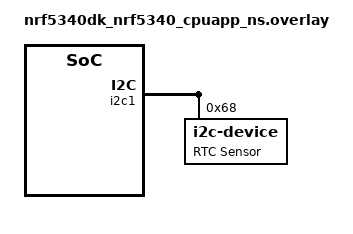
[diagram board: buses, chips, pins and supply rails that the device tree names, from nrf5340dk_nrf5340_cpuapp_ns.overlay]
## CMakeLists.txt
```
cmake_minimum_required(VERSION 3.20.0)
find_package(Zephyr REQUIRED HINTS $ENV{ZEPHYR_BASE})

project(rtc_support)

target_sources(app PRIVATE src/main.c src/convert.c src/datetime.c)
```

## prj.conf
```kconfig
CONFIG_I2C=y
CONFIG_TFM_SECURE_UART=n
CONFIG_TFM_LOG_LEVEL_SILENCE=y
```

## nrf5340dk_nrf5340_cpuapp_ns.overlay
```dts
&i2c1 {
  rtcsensor: rtcsensor@68 {
    compatible = "i2c-device";
    reg = <0x68>;
    label = "RTC Sensor";
  };
};
&uart0 {
  compatible = "nordic,nrf-uarte";
};
```

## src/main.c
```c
#include <stdio.h>
#include <zephyr/kernel.h>
#include <zephyr/drivers/gpio.h>
#include <zephyr/drivers/i2c.h>
#include "convert.h"
#include "datetime.h"

#define RTC_NODE DT_NODELABEL(rtcsensor)

static const struct i2c_dt_spec sensor = I2C_DT_SPEC_GET(RTC_NODE);

int main(void)
{
  printk("Starting the device...\n");
  if (!device_is_ready(sensor.bus))
  {
    printk("RTC Sensor %s is not ready yet.\n", sensor.bus->name);
    return 1;
  }

  printk("Device is ready.\n");

  datetime_data_s datetime_data = {
      .day = 3,
      .month = 7,
      .year = 2025,
      .dow = 4,
      .hour = 22,
      .min = 12,
      .sec = 30,
  };

  uint8_t reg_addr = 0x00; // DS3231 seconds register
  uint8_t time_data[7];
  char buf[200];

  // Encode and upload initial datetime to DS3231
  encode_datetime_data(&datetime_data, time_data);
  uint8_t write_buf[8];
  write_buf[0] = reg_addr;
  for (int i = 0; i < 7; ++i) write_buf[i+1] = time_data[i];

  int ret = i2c_write_dt(&sensor, write_buf, 8);
  if (ret != 0) {
    printk("Failed to set time on DS3231 (err %d)\n", ret);
  } else {
    printk("Time set on DS3231\n");
  }

  while (1)
  {
    ret = i2c_write_read_dt(&sensor, &reg_addr, 1, &time_data, 7);
    if (ret != 0)
    {
      printk("Failed to read seconds from DS3231 at address 0x%x\n", sensor.addr);
    }
    else
    {
      datetime_data = decode_datetime_data(time_data);
      get_datetime_str(&datetime_data, buf, 200);
      printk("%s\n", buf);
    }
    k_msleep(1000);
  }

  return 0;
}
```

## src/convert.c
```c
#include "convert.h"

uint8_t dec_to_bcd(uint8_t val)
{
  return ((val / 10) << 4) | (val % 10);
}

uint8_t bcd_to_dec_bits(uint8_t val, uint8_t bits)
{
  return (((val >> 4) & ((1 << (bits - 4)) - 1)) * 10) + (val & 0x0F);
}
```

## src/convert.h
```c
#ifndef CONVERT_H
#define CONVERT_H

#include <stdint.h>

#define bcd_to_dec(val) bcd_to_dec_bits(val, 8)

// Converts a decimal value (0-99) to its BCD (Binary-Coded Decimal) representation.
uint8_t dec_to_bcd(uint8_t val);

// Converts a BCD (Binary-Coded Decimal) value to its decimal representation (0-99).
uint8_t bcd_to_dec_bits(uint8_t val, uint8_t bits);

#endif // CONVERT_H
```

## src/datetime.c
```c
#include "datetime.h"
#include "convert.h"
#include <stdbool.h>
#include <zephyr/sys/printk.h>

// Parses 7 bytes of DS3231 register data into a datetime_data_s struct.
// The input array ds3231_data[] must contain exactly 7 elements
datetime_data_s decode_datetime_data(uint8_t ds3231_data[7])
{
  uint8_t sec = bcd_to_dec(ds3231_data[0]);
  uint8_t min = bcd_to_dec(ds3231_data[1]);
  bool is_12h_mode = ds3231_data[2] >> 6;
  bool is_pm = (ds3231_data[2] >> 5) & 0x01;

  uint8_t hour = bcd_to_dec_bits(ds3231_data[2], is_12h_mode ? 5 : 6);
  if (is_12h_mode)
  {
    if (hour == 12)
    {
      hour = is_pm ? 12 : 0;
    }
    else
    {
      hour = is_pm ? (hour + 12) : hour;
    }
  }

  uint8_t dow = ds3231_data[3];
  uint8_t day = bcd_to_dec(ds3231_data[4]);
  uint8_t month = bcd_to_dec_bits(ds3231_data[5], 5);
  uint8_t century = ds3231_data[5] >> 7;
  uint16_t year = (century ? 2000 : 1900) + bcd_to_dec(ds3231_data[6]);

  datetime_data_s datetime_data = {
      .sec = sec,
      .min = min,
      .hour = hour,
      .dow = dow,
      .day = day,
      .month = month,
      .year = year};

  return datetime_data;
}

void get_datetime_str(datetime_data_s *datetime_data, char buf[], size_t buf_size)
{
  snprintk(buf, buf_size, "%04d-%02d-%02d %02d:%02d:%02d",
           datetime_data->year, datetime_data->month, datetime_data->day,
           datetime_data->hour, datetime_data->min, datetime_data->sec);
}

// Converts a datetime_data_s struct to 7 bytes suitable for DS3231 registers (BCD encoding, handles century bit)
void encode_datetime_data(const datetime_data_s *datetime_data, uint8_t ds3231_data[7])
{
  ds3231_data[0] = dec_to_bcd(datetime_data->sec);
  ds3231_data[1] = dec_to_bcd(datetime_data->min);

  ds3231_data[2] = dec_to_bcd(datetime_data->hour) & 0x3F; // bits 5:0 = hour, bit 6 = 0 (24h), bit 7 = 0

  ds3231_data[3] = datetime_data->dow;

  ds3231_data[4] = dec_to_bcd(datetime_data->day);

  uint8_t month_bcd = dec_to_bcd(datetime_data->month) & 0x1F; // bits 4:0 = month
  uint8_t century = (datetime_data->year >= 2000) ? 1 : 0;
  ds3231_data[5] = (century << 7) | month_bcd;
  uint8_t year_bcd = dec_to_bcd((uint8_t)(datetime_data->year % 100));
  ds3231_data[6] = year_bcd;
}
```

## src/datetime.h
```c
#ifndef DATETIME_H
#define DATETIME_H

#include <stdint.h>
#include <stddef.h>

typedef struct {
  uint8_t sec; // [0-59]
  uint8_t min; // [0-59]
  uint8_t hour; // [0-23] 
  uint8_t dow; // day of week [1-7]
  uint8_t day; // day of month [0-31]
  uint8_t month; // [1-12]
  uint16_t year; // [1900-2099]
} datetime_data_s;

datetime_data_s decode_datetime_data(uint8_t ds3231_data[7]);

void encode_datetime_data(const datetime_data_s *datetime_data, uint8_t ds3231_data[7]);

void get_datetime_str(datetime_data_s *datetime_data, char buf[], size_t buf_size);

#endif // DATETIME_H
```
